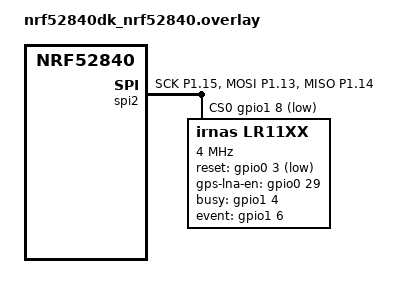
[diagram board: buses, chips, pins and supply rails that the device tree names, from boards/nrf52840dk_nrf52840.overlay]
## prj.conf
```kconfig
# Enable logging (it need to be disabled for low power)
CONFIG_PRINTK=y
CONFIG_GPIO=y
CONFIG_SERIAL=y
CONFIG_CONSOLE=y
CONFIG_UART_CONSOLE=y
CONFIG_LOG=y
CONFIG_LOG_DEFAULT_LEVEL=3
CONFIG_LOG_BACKEND_UART=y

CONFIG_SPI=y
CONFIG_LR11XX_LIB=y
#CONFIG_LR11XX_LOG_LEVEL_INF=y
CONFIG_LR11XX_LOG_LEVEL_DBG=y

CONFIG_PINCTRL=y
CONFIG_NEWLIB_LIBC=y

# Select config for autonomous or assisted scan
#CONFIG_GNSS_SCAN_AUTONOMOUS=y
CONFIG_GNSS_SCAN_ASSISTED=y

# UART callback for RX
CONFIG_UART_INTERRUPT_DRIVEN=y

# For Malloc usage
CONFIG_HEAP_MEM_POOL_SIZE=4096

CONFIG_LR11XX_EVENT_TRIGGER_OWN_THREAD=y
```

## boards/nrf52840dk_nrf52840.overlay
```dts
#include <lr11xx_bindings_def.h>
&spi1 {
    status = "disabled";
};

&spi2 {
    compatible = "nordic,nrf-spi";
    status = "okay";
    pinctrl-0 = <&spi2_default>;
    pinctrl-1 = <&spi2_sleep>;
    pinctrl-names = "default", "sleep";

    cs-gpios = <&gpio1 8 GPIO_ACTIVE_LOW>;
    lr11xx: lr11xx@0 {
        compatible = "irnas,lr11xx";
        reg = <0>;
        spi-max-frequency = <4000000>;

        reset-gpios = <&gpio0 3 GPIO_ACTIVE_LOW>;
        gps-lna-en-gpios = <&gpio0 29 0>;
        busy-gpios = <&gpio1 4 GPIO_ACTIVE_HIGH>;
        event-gpios = <&gpio1 6 (GPIO_ACTIVE_HIGH | GPIO_PULL_DOWN) >;

		lf-tx-path = <LR11XX_TX_PATH_LF_LP_HP>;

        tcxo-supply = <LR11XX_TCXO_SUPPLY_1_8V>;
        tcxo-wakeup-time = <5>;

        lf-clk = <LR11XX_LFCLK_EXT>;
        reg-mode = <LR11XX_REG_MODE_DCDC>;

        rf-sw-enable = <(LR11XX_DIO5 | LR11XX_DIO6 | LR11XX_DIO7)>;
        rf-sw-rx-mode = <LR11XX_DIO5>;
        rf-sw-tx-mode = <(LR11XX_DIO5 | LR11XX_DIO6)>;
        rf-sw-tx-hp-mode = <LR11XX_DIO6>;
        rf-sw-gnss-mode = <LR11XX_DIO7>;
    };
};

&pinctrl {
	spi2_default: spi2_default {
		group1 {
			psels = <NRF_PSEL(SPIM_SCK, 1, 15)>,
			        <NRF_PSEL(SPIM_MOSI, 1, 13)>,
			        <NRF_PSEL(SPIM_MISO, 1, 14)>;
		};
	};

	spi2_sleep: spi2_sleep {
		group1 {
			psels = <NRF_PSEL(SPIM_SCK, 1, 15)>,
			        <NRF_PSEL(SPIM_MOSI, 1, 13)>,
			        <NRF_PSEL(SPIM_MISO, 1, 14)>;
			low-power-enable;
		};
	};
};
```

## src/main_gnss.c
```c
/*!
 * @file      main_gnss.c
 *
 * @brief     GNSS scan example for LR11xx chip
 *
 * The Clear BSD License
 * Copyright Semtech Corporation 2022. All rights reserved.
 *
 * Redistribution and use in source and binary forms, with or without
 * modification, are permitted (subject to the limitations in the disclaimer
 * below) provided that the following conditions are met:
 *     * Redistributions of source code must retain the above copyright
 *       notice, this list of conditions and the following disclaimer.
 *     * Redistributions in binary form must reproduce the above copyright
 *       notice, this list of conditions and the following disclaimer in the
 *       documentation and/or other materials provided with the distribution.
 *     * Neither the name of the Semtech corporation nor the
 *       names of its contributors may be used to endorse or promote products
 *       derived from this software without specific prior written permission.
 *
 * NO EXPRESS OR IMPLIED LICENSES TO ANY PARTY'S PATENT RIGHTS ARE GRANTED BY
 * THIS LICENSE. THIS SOFTWARE IS PROVIDED BY THE COPYRIGHT HOLDERS AND
 * CONTRIBUTORS "AS IS" AND ANY EXPRESS OR IMPLIED WARRANTIES, INCLUDING, BUT
 * NOT LIMITED TO, THE IMPLIED WARRANTIES OF MERCHANTABILITY AND FITNESS FOR A
 * PARTICULAR PURPOSE ARE DISCLAIMED. IN NO EVENT SHALL SEMTECH CORPORATION BE
 * LIABLE FOR ANY DIRECT, INDIRECT, INCIDENTAL, SPECIAL, EXEMPLARY, OR
 * CONSEQUENTIAL DAMAGES (INCLUDING, BUT NOT LIMITED TO, PROCUREMENT OF
 * SUBSTITUTE GOODS OR SERVICES; LOSS OF USE, DATA, OR PROFITS; OR BUSINESS
 * INTERRUPTION) HOWEVER CAUSED AND ON ANY THEORY OF LIABILITY, WHETHER IN
 * CONTRACT, STRICT LIABILITY, OR TORT (INCLUDING NEGLIGENCE OR OTHERWISE)
 * ARISING IN ANY WAY OUT OF THE USE OF THIS SOFTWARE, EVEN IF ADVISED OF THE
 * POSSIBILITY OF SUCH DAMAGE.
 */

/*
 * -----------------------------------------------------------------------------
 * --- DEPENDENCIES ------------------------------------------------------------
 */

#include <stdio.h>
#include <string.h>
#include <stdlib.h>
#include <zephyr/kernel.h>
#include <zephyr/types.h>
#include <zephyr/device.h>
#include <zephyr/devicetree.h>

#include "apps_common.h"
#include "lr11xx_system.h"
#include "main_gnss.h"
#include "lr11xx_gnss.h"
#include "lr11xx_board.h"

#include "gnss_example_api.h"

#include <zephyr/logging/log.h>
LOG_MODULE_REGISTER(main);

/*
 * -----------------------------------------------------------------------------
 * --- PRIVATE MACROS-----------------------------------------------------------
 */

#define APP_PARTIAL_SLEEP true
#define NAV_MAX_LENGTH ( 300 )

/**
 * @brief LR11xx interrupt mask used by the application
 */
#define IRQ_MASK ( LR11XX_SYSTEM_IRQ_GNSS_SCAN_DONE )

/*
 * -----------------------------------------------------------------------------
 * --- PRIVATE TYPES -----------------------------------------------------------
 */

/*
 * -----------------------------------------------------------------------------
 * --- PRIVATE CONSTANTS -------------------------------------------------------
 */

/*
 * -----------------------------------------------------------------------------
 * --- PRIVATE VARIABLES -------------------------------------------------------
 */

const struct device *context = DEVICE_DT_GET(DT_NODELABEL(lr11xx));
static uint32_t              number_of_scan = 0;

/*
 * -----------------------------------------------------------------------------
 * --- PRIVATE FUNCTIONS DECLARATION -------------------------------------------
 */

/**
 * @brief Handle the start of a new GNSS scan
 *
 * It also check that a new Wi-Fi scan can start
 *
 */
static void start_scan( );

/**
 * @brief Handle the printing of results
 *
 * It includes the printing of detected SVs and cumulative timings.
 *
 */
static void fetch_and_print_results( void );

/**
 * @brief Helper function that indicate if a new scan can be started or if the demo is terminated
 *
 * @return true New scan can start
 * @return false The demo is terminated
 */
static bool can_execute_next_scan( void );

/*
 * -----------------------------------------------------------------------------
 * --- PUBLIC FUNCTIONS DEFINITION ---------------------------------------------
 */

/**
 * @brief Main application entry point.
 */
int main( void )
{
    LOG_INF( "===== %s =====\n", gnss_get_example_name( ) );

    apps_common_lr11xx_system_init( context );

    apps_common_lr11xx_fetch_and_print_version( context );

    int ret = 0;

    LOG_INF("Set dio irq mask");
    ret = lr11xx_system_set_dio_irq_params( context, IRQ_MASK, 0 );
    if(ret)
    {
        LOG_ERR("Failed to set dio irq params.");
    }

    LOG_INF("Clear irq status");
    ret = lr11xx_system_clear_irq_status( context, LR11XX_SYSTEM_IRQ_ALL_MASK );
    if(ret)
    {
        LOG_ERR("Failed to set dio irq params.");
    }

    apps_common_lr11xx_enable_irq(context, IRQ_MASK);

    gnss_init( context );
    start_scan( );

    //while( 1 )
    //{
    //    apps_common_lr11xx_irq_process( context, IRQ_MASK );
    //    k_sleep(K_MSEC(1));
    //}
}

void start_scan( void )
{
    if( can_execute_next_scan( ) )
    {
        gnss_call_scan( context );
        k_sleep(K_SECONDS(5));
    }
}

static void fetch_and_print_results( void )
{
    LOG_INF( "== Scan #%d ==", number_of_scan );
    int ret;

    lr11xx_gnss_timings_t gnss_timing = { 0 };
    ret = lr11xx_gnss_get_timings( context, &gnss_timing );
    if(ret)
    {
        LOG_ERR("Failed to get timings.");
    }

    LOG_INF( "Timings:" );
    LOG_INF( "  - radio: %u ms", gnss_timing.radio_ms );
    LOG_INF( "  - computation: %u ms", gnss_timing.computation_ms );

    uint8_t                          n_sv_detected            = 0;
    lr11xx_gnss_detected_satellite_t sv_detected[GNSS_MAX_SV] = { 0 };
    ret = lr11xx_gnss_get_nb_detected_satellites( context, &n_sv_detected );
    if(ret)
    {
        LOG_ERR("Failed to get nr. of satellites.");
    }

    if( n_sv_detected > GNSS_MAX_SV )
    {
        LOG_ERR( "More SV detected than configured (detected %u, max is %u)", n_sv_detected,
                             GNSS_MAX_SV );
        return;
    }

    ret = lr11xx_gnss_get_detected_satellites( context, n_sv_detected, sv_detected );
    if(ret)
    {
        LOG_ERR("Failed to get detected satellites.");
    }

    uint16_t result_size         = 0;
    uint8_t  nav[NAV_MAX_LENGTH] = { 0 };
    ret =  lr11xx_gnss_get_result_size( context, &result_size );
    if(ret)
    {
        LOG_ERR("Failed to get result size.");
    }

    if( result_size > NAV_MAX_LENGTH )
    {
        LOG_ERR( "Result size too long (size %u, max is %u)", result_size, NAV_MAX_LENGTH );
        return;
    }

    ret = lr11xx_gnss_read_results( context, nav, result_size );
    if(ret)
    {
        LOG_ERR("Failed to read results.");
    }

    LOG_INF( "Detected %u SV(s):", n_sv_detected );
    for( uint8_t index_sv = 0; index_sv < n_sv_detected; index_sv++ )
    {
        const lr11xx_gnss_detected_satellite_t* local_sv = &sv_detected[index_sv];
        LOG_INF( "  - SV %u: CNR: %i, doppler: %i", local_sv->satellite_id, local_sv->cnr,
                            local_sv->doppler );
    }

    //Print nav message
    LOG_HEXDUMP_INF(nav, result_size, "NAV message:");
}

bool can_execute_next_scan( void )
{
    const uint32_t max_n_scans = GNSS_MAX_SCANS;
    if( max_n_scans == 0 )
    {
        // If the maximum number of scan is set to 0, the example run indefinitely
        return true;
    }
    else
    {
        return ( number_of_scan < max_n_scans ) ? true : false;
    }
}

void on_gnss_scan_done( void )
{
    number_of_scan++;

    fetch_and_print_results( );

    start_scan( );
}
```

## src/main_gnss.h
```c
/*!
 * @file      main_gnss.h
 *
 * @brief     GNSS scan example for LR11xx chip
 *
 * The Clear BSD License
 * Copyright Semtech Corporation 2022. All rights reserved.
 *
 * Redistribution and use in source and binary forms, with or without
 * modification, are permitted (subject to the limitations in the disclaimer
 * below) provided that the following conditions are met:
 *     * Redistributions of source code must retain the above copyright
 *       notice, this list of conditions and the following disclaimer.
 *     * Redistributions in binary form must reproduce the above copyright
 *       notice, this list of conditions and the following disclaimer in the
 *       documentation and/or other materials provided with the distribution.
 *     * Neither the name of the Semtech corporation nor the
 *       names of its contributors may be used to endorse or promote products
 *       derived from this software without specific prior written permission.
 *
 * NO EXPRESS OR IMPLIED LICENSES TO ANY PARTY'S PATENT RIGHTS ARE GRANTED BY
 * THIS LICENSE. THIS SOFTWARE IS PROVIDED BY THE COPYRIGHT HOLDERS AND
 * CONTRIBUTORS "AS IS" AND ANY EXPRESS OR IMPLIED WARRANTIES, INCLUDING, BUT
 * NOT LIMITED TO, THE IMPLIED WARRANTIES OF MERCHANTABILITY AND FITNESS FOR A
 * PARTICULAR PURPOSE ARE DISCLAIMED. IN NO EVENT SHALL SEMTECH CORPORATION BE
 * LIABLE FOR ANY DIRECT, INDIRECT, INCIDENTAL, SPECIAL, EXEMPLARY, OR
 * CONSEQUENTIAL DAMAGES (INCLUDING, BUT NOT LIMITED TO, PROCUREMENT OF
 * SUBSTITUTE GOODS OR SERVICES; LOSS OF USE, DATA, OR PROFITS; OR BUSINESS
 * INTERRUPTION) HOWEVER CAUSED AND ON ANY THEORY OF LIABILITY, WHETHER IN
 * CONTRACT, STRICT LIABILITY, OR TORT (INCLUDING NEGLIGENCE OR OTHERWISE)
 * ARISING IN ANY WAY OUT OF THE USE OF THIS SOFTWARE, EVEN IF ADVISED OF THE
 * POSSIBILITY OF SUCH DAMAGE.
 */

#ifndef MAIN_GNSS_SCAN_H
#define MAIN_GNSS_SCAN_H

#ifdef __cplusplus
extern "C" {
#endif

/*
 * -----------------------------------------------------------------------------
 * --- DEPENDENCIES ------------------------------------------------------------
 */

#include "lr11xx_gnss_types.h"

/*
 * -----------------------------------------------------------------------------
 * --- PUBLIC MACROS -----------------------------------------------------------
 */

/**
 * @brief Assistance position latitude
 */
#define GNSS_ASSISTANCE_POSITION_LATITUDE ( 52.1 )

/**
 * @brief Assistance position longitude
 */
#define GNSS_ASSISTANCE_POSITION_LONGITUDE ( 4.3 )

/**
 * @brief Scan mode
 */
#define GNSS_SCAN_MODE ( LR11XX_GNSS_SCAN_MODE_3_SINGLE_SCAN_AND_5_FAST_SCANS )

/**
 * @brief Effort mode
 */
#define GNSS_EFFORT_MODE ( LR11XX_GNSS_OPTION_BEST_EFFORT )

/**
 * @brief GNSS input parameters
 */

#define GNSS_INPUT_PARAMETERS ( 0x07 )

/**
 * @brief Maximum number of SV to search per scan
 */
#define GNSS_MAX_SV ( 20 )

/**
 * @brief Maximum number of scan to execute in a row
 */
#define GNSS_MAX_SCANS ( 0 )

/*
 * -----------------------------------------------------------------------------
 * --- PUBLIC CONSTANTS --------------------------------------------------------
 */

/*
 * -----------------------------------------------------------------------------
 * --- PUBLIC TYPES ------------------------------------------------------------
 */

/*
 * -----------------------------------------------------------------------------
 * --- PUBLIC FUNCTIONS PROTOTYPES ---------------------------------------------
 */

#ifdef __cplusplus
}
#endif

#endif  // MAIN_GNSS_SCAN_H

/* --- EOF ------------------------------------------------------------------ */
```
